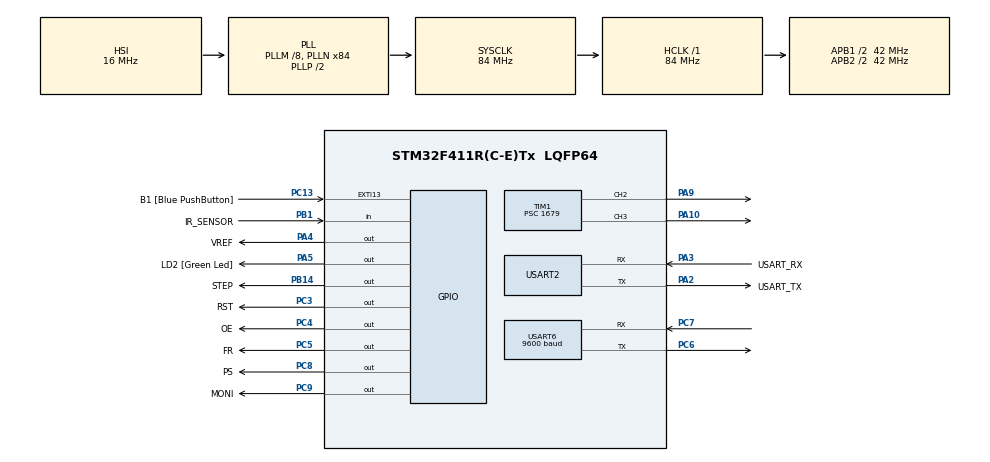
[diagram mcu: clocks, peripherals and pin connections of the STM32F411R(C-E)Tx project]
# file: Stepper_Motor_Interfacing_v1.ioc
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Mcu.Family=STM32F4
Mcu.Name=STM32F411R(C-E)Tx
Mcu.Package=LQFP64
NVIC.EXTI15_10_IRQn=true\:0\:0\:false\:false\:true\:true\:true
NVIC.PriorityGroup=NVIC_PRIORITYGROUP_0
NVIC.TIM1_UP_TIM10_IRQn=true\:0\:0\:false\:false\:true\:true\:true
NVIC.TIM2_IRQn=true\:0\:0\:false\:false\:true\:true\:true
NVIC.TIM3_IRQn=true\:0\:0\:false\:false\:true\:true\:true
NVIC.USART2_IRQn=true\:0\:0\:false\:false\:true\:true\:true
NVIC.USART6_IRQn=true\:0\:0\:false\:false\:true\:true\:true
PA10.Signal=S_TIM1_CH3
PA13.GPIO_Label=TMS
PA13.Mode=Serial_Wire
PA13.Signal=SYS_JTMS-SWDIO
PA14.GPIO_Label=TCK
PA14.Mode=Serial_Wire
PA14.Signal=SYS_JTCK-SWCLK
PA2.GPIO_Label=USART_TX
PA2.Mode=Asynchronous
PA2.Signal=USART2_TX
PA3.GPIO_Label=USART_RX
PA3.Mode=Asynchronous
PA3.Signal=USART2_RX
PA4.GPIO_Label=VREF
PA4.Signal=GPIO_Output
PA5.GPIO_Label=LD2 [Green Led]
PA5.Signal=GPIO_Output
PA9.Signal=S_TIM1_CH2
PB1.GPIO_Label=IR_SENSOR
PB1.Signal=GPIO_Input
PB14.GPIO_Label=STEP
PB14.Signal=GPIO_Output
PB3.GPIO_Label=SWO
PB3.Signal=SYS_JTDO-SWO
PC13-ANTI_TAMP.GPIO_Label=B1 [Blue PushButton]
PC13-ANTI_TAMP.GPIO_ModeDefaultEXTI=GPIO_MODE_IT_FALLING
PC13-ANTI_TAMP.Signal=GPXTI13
PC14-OSC32_IN.Mode=LSE-External-Oscillator
PC14-OSC32_IN.Signal=RCC_OSC32_IN
PC15-OSC32_OUT.Mode=LSE-External-Oscillator
PC15-OSC32_OUT.Signal=RCC_OSC32_OUT
PC3.GPIO_Label=RST
PC3.Signal=GPIO_Output
PC4.GPIO_Label=OE
PC4.Signal=GPIO_Output
PC5.GPIO_Label=FR
PC5.Signal=GPIO_Output
PC6.Mode=Asynchronous
PC6.Signal=USART6_TX
PC7.Mode=Asynchronous
PC7.Signal=USART6_RX
PC8.GPIO_Label=PS
PC8.Signal=GPIO_Output
PC9.GPIO_Label=MONI
PC9.Signal=GPIO_Output
PH0\ -\ OSC_IN.Mode=HSE-External-Clock-Source
PH0\ -\ OSC_IN.Signal=RCC_OSC_IN
PH1\ -\ OSC_OUT.Mode=HSE-External-Clock-Source
PH1\ -\ OSC_OUT.Signal=RCC_OSC_OUT
ProjectManager.HeapSize=0x200
ProjectManager.StackSize=0x400
ProjectManager.TargetToolchain=STM32CubeIDE
RCC.48MHZClocksFreq_Value=42000000
RCC.AHBFreq_Value=84000000
RCC.APB1CLKDivider=RCC_HCLK_DIV2
RCC.APB1Freq_Value=42000000
RCC.APB1TimFreq_Value=84000000
RCC.APB2CLKDivider=RCC_HCLK_DIV2
RCC.APB2Freq_Value=42000000
RCC.APB2TimFreq_Value=84000000
RCC.CortexFreq_Value=84000000
RCC.FLatency-AdvancedSettings=FLASH_LATENCY_2
RCC.HCLKFreq_Value=84000000
RCC.HSE_VALUE=8000000
RCC.HSI_VALUE=16000000
RCC.PLLM=8
RCC.PLLN=84
RCC.SYSCLKFreq_VALUE=84000000
RCC.SYSCLKSource=RCC_SYSCLKSOURCE_PLLCLK
RCC.VCOOutputFreq_Value=168000000
SH.S_TIM1_CH2.0=TIM1_CH2,PWM Generation2 CH2
SH.S_TIM1_CH3.0=TIM1_CH3,PWM Generation3 CH3
TIM1.AutoReloadPreload=TIM_AUTORELOAD_PRELOAD_ENABLE
TIM1.Channel-PWM\ Generation2\ CH2=TIM_CHANNEL_2
TIM1.Channel-PWM\ Generation3\ CH3=TIM_CHANNEL_3
TIM1.OCIdleState_2=TIM_OCIDLESTATE_RESET
TIM1.OCIdleState_3=TIM_OCIDLESTATE_RESET
TIM1.OCMode_PWM-PWM\ Generation2\ CH2=TIM_OCMODE_PWM2
TIM1.OCMode_PWM-PWM\ Generation3\ CH3=TIM_OCMODE_PWM2
TIM1.OCPolarity_2=TIM_OCPOLARITY_LOW
TIM1.OCPolarity_3=TIM_OCPOLARITY_LOW
TIM1.Period=999
TIM1.Prescaler=1679
TIM1.Pulse-PWM\ Generation2\ CH2=25
TIM1.Pulse-PWM\ Generation3\ CH3=25
TIM1.TIM_MasterOutputTrigger=TIM_TRGO_UPDATE
TIM2.Period=COUNTER_PERIOD
TIM2.Prescaler=FREQUENCY_TIM
TIM2.TIM_MasterOutputTrigger=TIM_TRGO_UPDATE
TIM3.Period=10000
TIM3.Prescaler=8399
TIM3.TIM_MasterOutputTrigger=TIM_TRGO_UPDATE
USART2.VirtualMode=VM_ASYNC
USART6.BaudRate=9600
USART6.VirtualMode=VM_ASYNC
VP_TIM1_VS_ClockSourceINT.Mode=Internal
VP_TIM2_VS_ClockSourceINT.Mode=Internal
VP_TIM3_VS_ClockSourceINT.Mode=Internal
board=NUCLEO-F411RE

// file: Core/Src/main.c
/* USER CODE BEGIN Header */
/**
  ******************************************************************************
  * @file           : main.c
  * @brief          : Main program body
  ******************************************************************************
  * @attention
  *
  * Copyright (c) 2022 STMicroelectronics.
  * All rights reserved.
  *
  * This software is licensed under terms that can be found in the LICENSE file
  * in the root directory of this software component.
  * If no LICENSE file comes with this software, it is provided AS-IS.
  *
  ******************************************************************************
  */
/* USER CODE END Header */
#include "main.h"

/* USER CODE BEGIN PD */

// Stepper Motor
#define FREQUENCY_TIM							167                        //83 = 1MHz , 167 = 500KHz
#define COUNTER_PERIOD							1200
#define MICROSTEP_RESOLUTION 					0.225
#define STEPS_IN_REVOLUTION 					1600 * 2
#define STEPPERMOTOR_TIMx						&htim2

#define TIMEOUT_TIMx							&htim3
#define TIMEOUT_DURATION						2

// Servo Motor
#define STAGING_SERVOMOTOR_TIMx					&htim1
#define STAGING_MOTOR_TIM_CHANNEL				TIM_CHANNEL_2
#define CONVEYOR_1_SERVO_CHANNEL				TIM_CHANNEL_3
#define STAGING_MOTOR_RUNTIME					5000					// in seconds

#define NO_PROVINCE								0
#define ON_PROVINCE								1
#define BC_PROVINCE								2
#define AB_PROVINCE								3

#define UNSORTED_MAILBOX						-135					// in degrees
#define ON_MAILBOX								-90
#define BC_MAILBOX								0
#define AB_MAILBOX								90

#define DEBUG_PROGRAM							1

/* USER CODE END PD */

TIM_HandleTypeDef htim1;
TIM_HandleTypeDef htim2;
TIM_HandleTypeDef htim3;

UART_HandleTypeDef huart2;
UART_HandleTypeDef huart6;

/* USER CODE BEGIN PV */
int32_t numOfSteps = 0;
uint8_t rxBuffer[256] = {'\0'};
uint8_t rxByte = 0;

int8_t startProgram = 5;
uint8_t rcvdAck = 0;
uint8_t retry = 0;

int8_t provinceFlag = -1;
uint8_t provinceRetry = 0;

//uint8_t irSense = 0;

/* USER CODE END PV */

void SystemClock_Config(void);
static void MX_GPIO_Init(void);
static void MX_USART2_UART_Init(void);
static void MX_TIM2_Init(void);
static void MX_USART6_UART_Init(void);
static void MX_TIM1_Init(void);
static void MX_TIM3_Init(void);

/* USER CODE BEGIN 0 */
void HAL_GPIO_EXTI_Callback(uint16_t GPIO_Pin){
	static uint32_t previousTime = 0;
	static uint32_t nowTime = 0;

	nowTime = HAL_GetTick();
	if((nowTime - previousTime) > 100){
		previousTime = HAL_GetTick();
		if(GPIO_Pin == B1_Pin){
			retry = 0;
			provinceFlag = -1;
			provinceRetry = 0;
			if(startProgram != 1){
				startProgram = 0;
			}
		}
	}
}

void HAL_TIM_PeriodElapsedCallback(TIM_HandleTypeDef *htim){
	static uint8_t count = 0;
	if(htim == STEPPERMOTOR_TIMx){
		HAL_GPIO_TogglePin(STEP_GPIO_Port, STEP_Pin);											// toggling the step pin to create square wave
		numOfSteps--;
		if(numOfSteps <= 0){
			stepperMotorStop();
		}
	}
	else if(htim == TIMEOUT_TIMx){
		count++;
		if(count >= TIMEOUT_DURATION){
			count = 0;
			startProgram *= (-1);
			if(rcvdAck == 1){
				retry = 0;
				rcvdAck = 0;
				startProgram += 1;
			}
			else{
				retry++;
				if(retry > 3){
					startProgram = 5;
				}
			}
			HAL_TIM_Base_Stop_IT(TIMEOUT_TIMx);
		}
	}
}

void stepperMotorSetup(void){
	  HAL_GPIO_WritePin(FR_GPIO_Port, FR_Pin, GPIO_PIN_RESET);
	  HAL_GPIO_WritePin(PS_GPIO_Port, PS_Pin, GPIO_PIN_SET);
	  HAL_GPIO_WritePin(RST_GPIO_Port, RST_Pin, GPIO_PIN_SET);
	  //HAL_GPIO_WritePin(MONI_GPIO_Port, MONI_Pin, GPIO_PIN_SET);
	  HAL_GPIO_WritePin(VREF_GPIO_Port, VREF_Pin, GPIO_PIN_SET);
	  HAL_GPIO_WritePin(OE_GPIO_Port, OE_Pin, GPIO_PIN_RESET);
	  HAL_TIM_Base_Init(STEPPERMOTOR_TIMx);
	  HAL_TIM_Base_Start_IT(STEPPERMOTOR_TIMx);
}

void stepperMotorStop(void){
	HAL_TIM_Base_Stop_IT(STEPPERMOTOR_TIMx);
}

void stepperMotionInDegreeC(int16_t angle){
	int32_t steps = 0;

	steps = (int32_t)(angle / MICROSTEP_RESOLUTION);
	numOfSteps = steps * 2;

	if(angle > 0){
		HAL_GPIO_WritePin(FR_GPIO_Port, FR_Pin, GPIO_PIN_RESET);
	}
	else if(angle < 0){
		HAL_GPIO_WritePin(FR_GPIO_Port, FR_Pin, GPIO_PIN_SET);
		numOfSteps *= (-1);
	}
	HAL_TIM_Base_Start_IT(STEPPERMOTOR_TIMx);
}

void runServoMotor(void){
	//htim1.Instance->CCR1 = 125;
	HAL_TIM_PWM_Start_IT(STAGING_SERVOMOTOR_TIMx, STAGING_MOTOR_TIM_CHANNEL);
	HAL_Delay(STAGING_MOTOR_RUNTIME);
	HAL_TIM_PWM_Stop_IT(STAGING_SERVOMOTOR_TIMx, STAGING_MOTOR_TIM_CHANNEL);
	//htim1.Instance->CCR1 = 0;
}

void provinceDelivery(uint8_t province){
	int16_t degrees = 0;

	if(province == NO_PROVINCE){
		degrees = UNSORTED_MAILBOX;
	}
	else if(province == ON_PROVINCE){
		degrees = ON_MAILBOX;
	}
	else if(province == BC_PROVINCE){
		degrees = BC_MAILBOX;
	}
	else if(province == AB_PROVINCE){
		degrees = AB_MAILBOX;
	}
	stepperMotionInDegreeC(degrees);
	while(numOfSteps > 0);
	HAL_Delay(500);
	runServoMotor();
	HAL_Delay(500);
	stepperMotionInDegreeC(degrees * (-1));
	while(numOfSteps > 0);
	HAL_Delay(50);
}

void HAL_UART_RxCpltCallback(UART_HandleTypeDef *huart){
	static uint8_t bufferIndex = 0;

	if(huart->Instance == USART6){
		if((rxByte != '\n')){
			rxBuffer[bufferIndex] = rxByte;
			bufferIndex++;
		}
		else{
			if(startProgram == -1){
				if(strncmp((const char *)rxBuffer, (const char *)"ACK:OK", (size_t)6) == 0){
					rcvdAck = 1;
				}
//				else if(strncmp((const char *)rxBuffer, (const char *)"ACK:ERR", (size_t)7) == 0){
//					rcvdAck = 0;
//				}
			}
			if(startProgram == -2){
				if(strncmp((const char *)rxBuffer, (const char *)"PROVINCE:", (size_t)9) == 0){
					rcvdAck = 1;
					if((strncmp((const char *)&rxBuffer[9], (const char *)"ON", 2) == 0)){
						provinceFlag = ON_PROVINCE;
					}
					else if((strncmp((const char *)&rxBuffer[9], (const char *)"BC", (size_t)2) == 0)){
						provinceFlag = BC_PROVINCE;
					}
					else if((strncmp((const char *)&rxBuffer[9], (const char *)"AB", (size_t)2) == 0)){
						provinceFlag = AB_PROVINCE;
					}
					else if((strncmp((const char *)&rxBuffer[9], (const char *)"UN", (size_t)2) == 0)){
						provinceFlag = NO_PROVINCE;
					}
					else{
						#if DEBUG_PROGRAM
						HAL_UART_Transmit(&huart2, (uint8_t *)"ACK:ERR\n", 8, 2000);
						#endif
						HAL_UART_Transmit(huart, (uint8_t *)"ACK:ERR\n", 8, 2000);
						rcvdAck = 0;
					}
					if(rcvdAck == 1){
						startProgram *= -1;
						startProgram++;
					}
				}
				else{
					rcvdAck = 0;
					#if DEBUG_PROGRAM
					HAL_UART_Transmit(&huart2, (uint8_t *)"ACK:ERR\n", 8, 2000);
					#endif
					HAL_UART_Transmit(huart, (uint8_t *)"ACK:ERR\n", 8, 2000);
				}
			}
			#if DEBUG_PROGRAM
			HAL_UART_Transmit(&huart2, (uint8_t *)rxBuffer, bufferIndex, 2000);
			HAL_UART_Transmit(&huart2, (uint8_t *)"\r\n", 2, 2000);
			#endif
			memset((char *)rxBuffer, '\0', (size_t)256 * sizeof(rxBuffer[0]));
			bufferIndex = 0;
		}
		HAL_UART_Receive_IT(huart, &rxByte, 1);
	}
}

void conOneServoStart(void){
//	htim1.Instance->CCR2 = 25;
//	htim1.Instance->CCR3 = 25;
	__HAL_TIM_SET_COMPARE(STAGING_SERVOMOTOR_TIMx, CONVEYOR_1_SERVO_CHANNEL, 25);
	__HAL_TIM_SET_COMPARE(STAGING_SERVOMOTOR_TIMx, STAGING_MOTOR_TIM_CHANNEL, 25);
	HAL_TIM_Base_Start_IT(STAGING_SERVOMOTOR_TIMx);
	HAL_TIM_PWM_Start_IT(STAGING_SERVOMOTOR_TIMx, CONVEYOR_1_SERVO_CHANNEL);
	HAL_TIM_PWM_Start_IT(STAGING_SERVOMOTOR_TIMx, STAGING_MOTOR_TIM_CHANNEL);
	while(HAL_GPIO_ReadPin(IR_SENSOR_GPIO_Port, IR_SENSOR_Pin) == GPIO_PIN_SET);
	HAL_Delay(50);
	while(HAL_GPIO_ReadPin(IR_SENSOR_GPIO_Port, IR_SENSOR_Pin) == GPIO_PIN_RESET);
//	while(irSense != 1);
//	irSense = 0;
//	htim1.Instance->CCR3 = 0;
	__HAL_TIM_SET_COMPARE(STAGING_SERVOMOTOR_TIMx, CONVEYOR_1_SERVO_CHANNEL, 0);
	HAL_TIM_PWM_Stop_IT(STAGING_SERVOMOTOR_TIMx, CONVEYOR_1_SERVO_CHANNEL);
	HAL_Delay(1000);
//	htim1.Instance->CCR2 = 0;
	__HAL_TIM_SET_COMPARE(STAGING_SERVOMOTOR_TIMx, CONVEYOR_1_SERVO_CHANNEL, 0);
	HAL_TIM_PWM_Stop_IT(STAGING_SERVOMOTOR_TIMx, STAGING_MOTOR_TIM_CHANNEL);
	HAL_TIM_Base_Stop_IT(STAGING_SERVOMOTOR_TIMx);
}

/* USER CODE END 0 */

int main(void)
{

  /* MCU Configuration--------------------------------------------------------*/

  /* Reset of all peripherals, Initializes the Flash interface and the Systick. */
  HAL_Init();

  /* Configure the system clock */
  SystemClock_Config();

  /* Initialize all configured peripherals */
  MX_GPIO_Init();
  MX_USART2_UART_Init();
  MX_TIM2_Init();
  MX_USART6_UART_Init();
  MX_TIM1_Init();
  MX_TIM3_Init();
  /* USER CODE BEGIN 2 */
  HAL_UART_Receive_IT(&huart6, &rxByte, 1);
  stepperMotorSetup();
//  htim1.Instance->CCR2 = 0;
//  htim1.Instance->CCR3 = 0;
//  HAL_TIM_PWM_Start_IT(STAGING_SERVOMOTOR_TIMx, CONVEYOR_1_SERVO_CHANNEL);
//  HAL_TIM_PWM_Start_IT(STAGING_SERVOMOTOR_TIMx, STAGING_MOTOR_TIM_CHANNEL);
  HAL_Delay(250);
//  stepperMotionInDegreeC(-135);
  /* USER CODE END 2 */

  /* Infinite loop */
  /* USER CODE BEGIN WHILE */
  while (1)
  {
	  if(startProgram == 0){
		  conOneServoStart();
		  startProgram++;
	  }
	  else if(startProgram == 1){
		rcvdAck = 0;
		#if DEBUG_PROGRAM
		HAL_UART_Transmit(&huart2, (uint8_t *)"START\n", 6, 2000);
		HAL_Delay(10);
		#endif
		HAL_UART_Transmit(&huart6, (uint8_t *)"START\n", 6, 2000);
		startProgram = -1;
		HAL_TIM_Base_Start_IT(TIMEOUT_TIMx);
	  }
	  else if(startProgram == 2){
		#if DEBUG_PROGRAM
		HAL_UART_Transmit(&huart2, (uint8_t *)"Waiting for province\n", 21, 2000);
		#endif
		startProgram = -2;
	  }
	  else if(startProgram == 3){
		  if(provinceFlag == NO_PROVINCE){
			  provinceRetry++;
			  if(provinceRetry < 4){
				#if DEBUG_PROGRAM
				HAL_UART_Transmit(&huart2, (uint8_t *)"ACK:OK\n", 7, 2000);
				HAL_Delay(10);
				#endif
				HAL_UART_Transmit(&huart6, (uint8_t *)"ACK:OK\n", 7, 2000);
				HAL_TIM_Base_Start_IT(STAGING_SERVOMOTOR_TIMx);
				HAL_TIM_PWM_Start_IT(STAGING_SERVOMOTOR_TIMx, STAGING_MOTOR_TIM_CHANNEL);
				HAL_Delay(100);
				HAL_TIM_PWM_Stop_IT(STAGING_SERVOMOTOR_TIMx, STAGING_MOTOR_TIM_CHANNEL);
				HAL_TIM_Base_Stop_IT(STAGING_SERVOMOTOR_TIMx);
				provinceFlag = -1;
			  }
			  startProgram = 1;
		  }
		  else{
			#if DEBUG_PROGRAM
			HAL_UART_Transmit(&huart2, (uint8_t *)"ACK:OK\n", 7, 2000);
			HAL_Delay(10);
			#endif
			HAL_UART_Transmit(&huart6, (uint8_t *)"ACK:OK\n", 7, 2000);
			startProgram = 0;
		  }
		  HAL_Delay(2000);
	  }

	  if((provinceFlag != -1)){
		  if(provinceFlag == NO_PROVINCE){
			provinceRetry = 0;
			#if DEBUG_PROGRAM
			HAL_UART_Transmit(&huart2, (uint8_t *)"ACK:UN-------------\n", 20, 2000);
			HAL_Delay(10);
			#endif
			HAL_UART_Transmit(&huart6, (uint8_t *)"ACK:UN\n", 7, 2000);
		  }
		provinceDelivery(provinceFlag);
		provinceFlag = -1;
		provinceRetry = 0;
		startProgram = 0;
		HAL_Delay(2000);
	  }
    /* USER CODE END WHILE */

  }
}

void SystemClock_Config(void)
{
  RCC_OscInitTypeDef RCC_OscInitStruct = {0};
  RCC_ClkInitTypeDef RCC_ClkInitStruct = {0};

  /** Configure the main internal regulator output voltage
  */
  __HAL_RCC_PWR_CLK_ENABLE();
  __HAL_PWR_VOLTAGESCALING_CONFIG(PWR_REGULATOR_VOLTAGE_SCALE1);
  /** Initializes the RCC Oscillators according to the specified parameters
  * in the RCC_OscInitTypeDef structure.
  */
  RCC_OscInitStruct.OscillatorType = RCC_OSCILLATORTYPE_HSI;
  RCC_OscInitStruct.HSIState = RCC_HSI_ON;
  RCC_OscInitStruct.HSICalibrationValue = RCC_HSICALIBRATION_DEFAULT;
  RCC_OscInitStruct.PLL.PLLState = RCC_PLL_ON;
  RCC_OscInitStruct.PLL.PLLSource = RCC_PLLSOURCE_HSI;
  RCC_OscInitStruct.PLL.PLLM = 8;
  RCC_OscInitStruct.PLL.PLLN = 84;
  RCC_OscInitStruct.PLL.PLLP = RCC_PLLP_DIV2;
  RCC_OscInitStruct.PLL.PLLQ = 4;
  if (HAL_RCC_OscConfig(&RCC_OscInitStruct) != HAL_OK)
  {
    Error_Handler();
  }
  /** Initializes the CPU, AHB and APB buses clocks
  */
  RCC_ClkInitStruct.ClockType = RCC_CLOCKTYPE_HCLK|RCC_CLOCKTYPE_SYSCLK
                              |RCC_CLOCKTYPE_PCLK1|RCC_CLOCKTYPE_PCLK2;
  RCC_ClkInitStruct.SYSCLKSource = RCC_SYSCLKSOURCE_PLLCLK;
  RCC_ClkInitStruct.AHBCLKDivider = RCC_SYSCLK_DIV1;
  RCC_ClkInitStruct.APB1CLKDivider = RCC_HCLK_DIV2;
  RCC_ClkInitStruct.APB2CLKDivider = RCC_HCLK_DIV2;

  if (HAL_RCC_ClockConfig(&RCC_ClkInitStruct, FLASH_LATENCY_2) != HAL_OK)
  {
    Error_Handler();
  }
}

static void MX_TIM1_Init(void)
{

  TIM_ClockConfigTypeDef sClockSourceConfig = {0};
  TIM_MasterConfigTypeDef sMasterConfig = {0};
  TIM_OC_InitTypeDef sConfigOC = {0};
  TIM_BreakDeadTimeConfigTypeDef sBreakDeadTimeConfig = {0};

  htim1.Instance = TIM1;
  htim1.Init.Prescaler = 1679;
  htim1.Init.CounterMode = TIM_COUNTERMODE_UP;
  htim1.Init.Period = 999;
  htim1.Init.ClockDivision = TIM_CLOCKDIVISION_DIV1;
  htim1.Init.RepetitionCounter = 0;
  htim1.Init.AutoReloadPreload = TIM_AUTORELOAD_PRELOAD_ENABLE;
  if (HAL_TIM_Base_Init(&htim1) != HAL_OK)
  {
    Error_Handler();
  }
  sClockSourceConfig.ClockSource = TIM_CLOCKSOURCE_INTERNAL;
  if (HAL_TIM_ConfigClockSource(&htim1, &sClockSourceConfig) != HAL_OK)
  {
    Error_Handler();
  }
  if (HAL_TIM_PWM_Init(&htim1) != HAL_OK)
  {
    Error_Handler();
  }
  sMasterConfig.MasterOutputTrigger = TIM_TRGO_UPDATE;
  sMasterConfig.MasterSlaveMode = TIM_MASTERSLAVEMODE_DISABLE;
  if (HAL_TIMEx_MasterConfigSynchronization(&htim1, &sMasterConfig) != HAL_OK)
  {
    Error_Handler();
  }
  sConfigOC.OCMode = TIM_OCMODE_PWM2;
  sConfigOC.Pulse = 25;
  sConfigOC.OCPolarity = TIM_OCPOLARITY_LOW;
  sConfigOC.OCNPolarity = TIM_OCNPOLARITY_HIGH;
  sConfigOC.OCFastMode = TIM_OCFAST_DISABLE;
  sConfigOC.OCIdleState = TIM_OCIDLESTATE_RESET;
  sConfigOC.OCNIdleState = TIM_OCNIDLESTATE_RESET;
  if (HAL_TIM_PWM_ConfigChannel(&htim1, &sConfigOC, TIM_CHANNEL_2) != HAL_OK)
  {
    Error_Handler();
  }
  if (HAL_TIM_PWM_ConfigChannel(&htim1, &sConfigOC, TIM_CHANNEL_3) != HAL_OK)
  {
    Error_Handler();
  }
  sBreakDeadTimeConfig.OffStateRunMode = TIM_OSSR_DISABLE;
  sBreakDeadTimeConfig.OffStateIDLEMode = TIM_OSSI_DISABLE;
  sBreakDeadTimeConfig.LockLevel = TIM_LOCKLEVEL_OFF;
  sBreakDeadTimeConfig.DeadTime = 0;
  sBreakDeadTimeConfig.BreakState = TIM_BREAK_DISABLE;
  sBreakDeadTimeConfig.BreakPolarity = TIM_BREAKPOLARITY_HIGH;
  sBreakDeadTimeConfig.AutomaticOutput = TIM_AUTOMATICOUTPUT_DISABLE;
  if (HAL_TIMEx_ConfigBreakDeadTime(&htim1, &sBreakDeadTimeConfig) != HAL_OK)
  {
    Error_Handler();
  }
  HAL_TIM_MspPostInit(&htim1);

}

static void MX_TIM2_Init(void)
{

  TIM_ClockConfigTypeDef sClockSourceConfig = {0};
  TIM_MasterConfigTypeDef sMasterConfig = {0};

  htim2.Instance = TIM2;
  htim2.Init.Prescaler = FREQUENCY_TIM;
  htim2.Init.CounterMode = TIM_COUNTERMODE_UP;
  htim2.Init.Period = COUNTER_PERIOD;
  htim2.Init.ClockDivision = TIM_CLOCKDIVISION_DIV1;
  htim2.Init.AutoReloadPreload = TIM_AUTORELOAD_PRELOAD_DISABLE;
  if (HAL_TIM_Base_Init(&htim2) != HAL_OK)
  {
    Error_Handler();
  }
  sClockSourceConfig.ClockSource = TIM_CLOCKSOURCE_INTERNAL;
  if (HAL_TIM_ConfigClockSource(&htim2, &sClockSourceConfig) != HAL_OK)
  {
    Error_Handler();
  }
  sMasterConfig.MasterOutputTrigger = TIM_TRGO_UPDATE;
  sMasterConfig.MasterSlaveMode = TIM_MASTERSLAVEMODE_DISABLE;
  if (HAL_TIMEx_MasterConfigSynchronization(&htim2, &sMasterConfig) != HAL_OK)
  {
    Error_Handler();
  }

}

static void MX_TIM3_Init(void)
{

  TIM_ClockConfigTypeDef sClockSourceConfig = {0};
  TIM_MasterConfigTypeDef sMasterConfig = {0};

  htim3.Instance = TIM3;
  htim3.Init.Prescaler = 8399;
  htim3.Init.CounterMode = TIM_COUNTERMODE_UP;
  htim3.Init.Period = 10000;
  htim3.Init.ClockDivision = TIM_CLOCKDIVISION_DIV1;
  htim3.Init.AutoReloadPreload = TIM_AUTORELOAD_PRELOAD_DISABLE;
  if (HAL_TIM_Base_Init(&htim3) != HAL_OK)
  {
    Error_Handler();
  }
  sClockSourceConfig.ClockSource = TIM_CLOCKSOURCE_INTERNAL;
  if (HAL_TIM_ConfigClockSource(&htim3, &sClockSourceConfig) != HAL_OK)
  {
    Error_Handler();
  }
  sMasterConfig.MasterOutputTrigger = TIM_TRGO_UPDATE;
  sMasterConfig.MasterSlaveMode = TIM_MASTERSLAVEMODE_DISABLE;
  if (HAL_TIMEx_MasterConfigSynchronization(&htim3, &sMasterConfig) != HAL_OK)
  {
    Error_Handler();
  }

}

static void MX_USART2_UART_Init(void)
{

  huart2.Instance = USART2;
  huart2.Init.BaudRate = 115200;
  huart2.Init.WordLength = UART_WORDLENGTH_8B;
  huart2.Init.StopBits = UART_STOPBITS_1;
  huart2.Init.Parity = UART_PARITY_NONE;
  huart2.Init.Mode = UART_MODE_TX_RX;
  huart2.Init.HwFlowCtl = UART_HWCONTROL_NONE;
  huart2.Init.OverSampling = UART_OVERSAMPLING_16;
  if (HAL_UART_Init(&huart2) != HAL_OK)
  {
    Error_Handler();
  }

}

static void MX_USART6_UART_Init(void)
{

  huart6.Instance = USART6;
  huart6.Init.BaudRate = 9600;
  huart6.Init.WordLength = UART_WORDLENGTH_8B;
  huart6.Init.StopBits = UART_STOPBITS_1;
  huart6.Init.Parity = UART_PARITY_NONE;
  huart6.Init.Mode = UART_MODE_TX_RX;
  huart6.Init.HwFlowCtl = UART_HWCONTROL_NONE;
  huart6.Init.OverSampling = UART_OVERSAMPLING_16;
  if (HAL_UART_Init(&huart6) != HAL_OK)
  {
    Error_Handler();
  }

}

static void MX_GPIO_Init(void)
{
  GPIO_InitTypeDef GPIO_InitStruct = {0};

  /* GPIO Ports Clock Enable */
  __HAL_RCC_GPIOC_CLK_ENABLE();
  __HAL_RCC_GPIOH_CLK_ENABLE();
  __HAL_RCC_GPIOA_CLK_ENABLE();
  __HAL_RCC_GPIOB_CLK_ENABLE();

  /*Configure GPIO pin Output Level */
  HAL_GPIO_WritePin(GPIOC, RST_Pin|OE_Pin|FR_Pin|PS_Pin
                          |MONI_Pin, GPIO_PIN_RESET);

  /*Configure GPIO pin Output Level */
  HAL_GPIO_WritePin(GPIOA, VREF_Pin|LD2_Pin, GPIO_PIN_RESET);

  /*Configure GPIO pin Output Level */
  HAL_GPIO_WritePin(STEP_GPIO_Port, STEP_Pin, GPIO_PIN_RESET);

  /*Configure GPIO pin : B1_Pin */
  GPIO_InitStruct.Pin = B1_Pin;
  GPIO_InitStruct.Mode = GPIO_MODE_IT_FALLING;
  GPIO_InitStruct.Pull = GPIO_NOPULL;
  HAL_GPIO_Init(B1_GPIO_Port, &GPIO_InitStruct);

  /*Configure GPIO pins : RST_Pin OE_Pin FR_Pin PS_Pin
                           MONI_Pin */
  GPIO_InitStruct.Pin = RST_Pin|OE_Pin|FR_Pin|PS_Pin
                          |MONI_Pin;
  GPIO_InitStruct.Mode = GPIO_MODE_OUTPUT_PP;
  GPIO_InitStruct.Pull = GPIO_NOPULL;
  GPIO_InitStruct.Speed = GPIO_SPEED_FREQ_LOW;
  HAL_GPIO_Init(GPIOC, &GPIO_InitStruct);

  /*Configure GPIO pins : VREF_Pin LD2_Pin */
  GPIO_InitStruct.Pin = VREF_Pin|LD2_Pin;
  GPIO_InitStruct.Mode = GPIO_MODE_OUTPUT_PP;
  GPIO_InitStruct.Pull = GPIO_NOPULL;
  GPIO_InitStruct.Speed = GPIO_SPEED_FREQ_LOW;
  HAL_GPIO_Init(GPIOA, &GPIO_InitStruct);

  /*Configure GPIO pin : IR_SENSOR_Pin */
  GPIO_InitStruct.Pin = IR_SENSOR_Pin;
  GPIO_InitStruct.Mode = GPIO_MODE_INPUT;
  GPIO_InitStruct.Pull = GPIO_NOPULL;
  HAL_GPIO_Init(IR_SENSOR_GPIO_Port, &GPIO_InitStruct);

  /*Configure GPIO pin : STEP_Pin */
  GPIO_InitStruct.Pin = STEP_Pin;
  GPIO_InitStruct.Mode = GPIO_MODE_OUTPUT_PP;
  GPIO_InitStruct.Pull = GPIO_NOPULL;
  GPIO_InitStruct.Speed = GPIO_SPEED_FREQ_LOW;
  HAL_GPIO_Init(STEP_GPIO_Port, &GPIO_InitStruct);

  /* EXTI interrupt init*/
  HAL_NVIC_SetPriority(EXTI15_10_IRQn, 0, 0);
  HAL_NVIC_EnableIRQ(EXTI15_10_IRQn);

}

void Error_Handler(void)
{
  __disable_irq();
  while (1)
  {
  }
}
